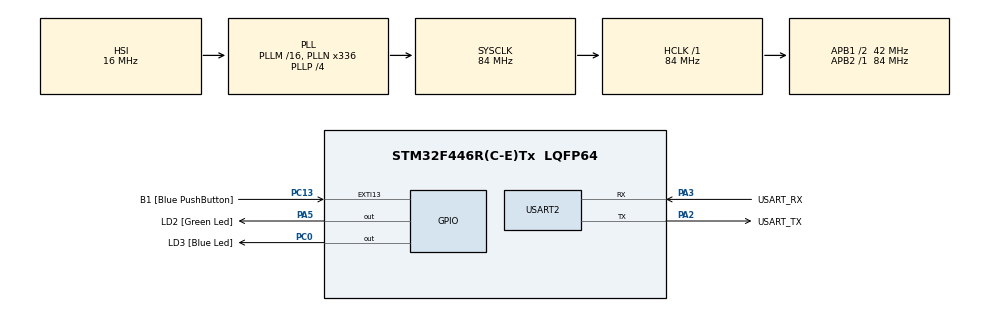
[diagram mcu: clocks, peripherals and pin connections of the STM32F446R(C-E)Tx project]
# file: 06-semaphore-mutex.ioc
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FREERTOS.Tasks01=defaultTask,24,128,StartDefaultTask,Default,NULL,Dynamic,NULL,NULL
FREERTOS.configUSE_NEWLIB_REENTRANT=1
FREERTOS.copyHeapFile=1
Mcu.Family=STM32F4
Mcu.Name=STM32F446R(C-E)Tx
Mcu.Package=LQFP64
NVIC.EXTI15_10_IRQn=true\:5\:0\:false\:false\:true\:true\:true\:true\:true
NVIC.PriorityGroup=NVIC_PRIORITYGROUP_4
NVIC.TIM1_UP_TIM10_IRQn=true\:15\:0\:false\:false\:true\:false\:false\:true\:true
NVIC.TimeBase=TIM1_UP_TIM10_IRQn
NVIC.TimeBaseIP=TIM1
PA13.GPIO_Label=TMS
PA13.Mode=Serial_Wire
PA13.Signal=SYS_JTMS-SWDIO
PA14.GPIO_Label=TCK
PA14.Mode=Serial_Wire
PA14.Signal=SYS_JTCK-SWCLK
PA2.GPIO_Label=USART_TX
PA2.Mode=Asynchronous
PA2.Signal=USART2_TX
PA3.GPIO_Label=USART_RX
PA3.Mode=Asynchronous
PA3.Signal=USART2_RX
PA5.GPIO_Label=LD2 [Green Led]
PA5.Signal=GPIO_Output
PB3.GPIO_Label=SWO
PB3.Signal=SYS_JTDO-SWO
PC0.GPIO_Label=LD3 [Blue Led]
PC0.Signal=GPIO_Output
PC13.GPIO_Label=B1 [Blue PushButton]
PC13.GPIO_ModeDefaultEXTI=GPIO_MODE_IT_FALLING
PC13.Signal=GPXTI13
PC14-OSC32_IN.Mode=LSE-External-Oscillator
PC14-OSC32_IN.Signal=RCC_OSC32_IN
PC15-OSC32_OUT.Mode=LSE-External-Oscillator
PC15-OSC32_OUT.Signal=RCC_OSC32_OUT
PH0-OSC_IN.Mode=HSE-External-Oscillator
PH0-OSC_IN.Signal=RCC_OSC_IN
PH1-OSC_OUT.Mode=HSE-External-Oscillator
PH1-OSC_OUT.Signal=RCC_OSC_OUT
ProjectManager.HeapSize=0x200
ProjectManager.StackSize=0x400
ProjectManager.TargetToolchain=STM32CubeIDE
RCC.48MHZClocksFreq_Value=84000000
RCC.AHBFreq_Value=84000000
RCC.APB1CLKDivider=RCC_HCLK_DIV2
RCC.APB1Freq_Value=42000000
RCC.APB1TimFreq_Value=84000000
RCC.APB2Freq_Value=84000000
RCC.APB2TimFreq_Value=84000000
RCC.CortexFreq_Value=84000000
RCC.FLatency-AdvancedSettings=FLASH_LATENCY_2
RCC.HCLKFreq_Value=84000000
RCC.HSE_VALUE=8000000
RCC.HSI_VALUE=16000000
RCC.PLLN=336
RCC.PLLP=RCC_PLLP_DIV4
RCC.SYSCLKFreq_VALUE=84000000
RCC.SYSCLKSource=RCC_SYSCLKSOURCE_PLLCLK
RCC.USBFreq_Value=168000000
RCC.VCOOutputFreq_Value=336000000
USART2.VirtualMode=VM_ASYNC
VP_FREERTOS_VS_CMSIS_V2.Mode=CMSIS_V2
VP_SYS_VS_tim1.Mode=TIM1
board=NUCLEO-F446RE

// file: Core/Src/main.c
/* USER CODE BEGIN Header */
/**
  ******************************************************************************
  * @file           : main.c
  * @brief          : Main program body
  ******************************************************************************
  * @attention
  *
  * Copyright (c) 2026 STMicroelectronics.
  * All rights reserved.
  *
  * This software is licensed under terms that can be found in the LICENSE file
  * in the root directory of this software component.
  * If no LICENSE file comes with this software, it is provided AS-IS.
  *
  ******************************************************************************
  */
/* USER CODE END Header */
#include "main.h"
#include "cmsis_os.h"

UART_HandleTypeDef huart2;

/* Definitions for defaultTask */
//osThreadId_t defaultTaskHandle;
//const osThreadAttr_t defaultTask_attributes = {
//  .name = "defaultTask",
//  .stack_size = 128 * 4,
//  .priority = (osPriority_t) osPriorityNormal,
//};
/* USER CODE BEGIN PV */

osMutexId_t uartMutex;
osSemaphoreId_t uartSem;

osThreadId_t lowPriorityTaskHandle;
osThreadId_t midPriorityTaskHandle;
osThreadId_t highPriorityTaskHandle;

const osThreadAttr_t lowPriorityTask_attributes = {
		.name = "lowPriorityTask",
		.stack_size = 128*4,
		.priority = (osPriority_t) osPriorityBelowNormal,
};

const osThreadAttr_t midPriorityTask_attributes = {
		.name = "midPriorityTask",
		.stack_size = 128*4,
		.priority = (osPriority_t) osPriorityNormal,
};

const osThreadAttr_t highPriorityTask_attributes = {
		.name = "highPriorityTask",
		.stack_size = 128*4,
		.priority = (osPriority_t) osPriorityHigh,
};

/* USER CODE END PV */

void SystemClock_Config(void);
static void MX_GPIO_Init(void);
static void MX_USART2_UART_Init(void);
//void StartDefaultTask(void *argument);

/* USER CODE BEGIN PFP */
void StartLowPriorityTask(void *argument);
void StartMidPriorityTask(void *argument);
void StartHighPriorityTask(void *argument);
/* USER CODE END PFP */

/* USER CODE BEGIN 0 */
#include <stdio.h>

int __io_putchar(int ch) {
    HAL_UART_Transmit(&huart2, (uint8_t*)&ch, 1, HAL_MAX_DELAY);
    return ch;
}
/* USER CODE END 0 */

int main(void)
{

  /* MCU Configuration--------------------------------------------------------*/

  /* Reset of all peripherals, Initializes the Flash interface and the Systick. */
  HAL_Init();

  /* Configure the system clock */
  SystemClock_Config();

  /* Initialize all configured peripherals */
  MX_GPIO_Init();
  MX_USART2_UART_Init();

  /* Init scheduler */
  osKernelInitialize();

  /* USER CODE BEGIN RTOS_MUTEX */
  /* add mutexes, ... */
  uartMutex = osMutexNew(NULL);
  /* USER CODE END RTOS_MUTEX */

  /* USER CODE BEGIN RTOS_SEMAPHORES */
  /* add semaphores, ... */
  uartSem = osSemaphoreNew(1, 1, NULL);
  /* USER CODE END RTOS_SEMAPHORES */

  /* Create the thread(s) */
  /* creation of defaultTask */
//  defaultTaskHandle = osThreadNew(StartDefaultTask, NULL, &defaultTask_attributes);

  /* USER CODE BEGIN RTOS_THREADS */
  /* add threads, ... */
  lowPriorityTaskHandle = osThreadNew(StartLowPriorityTask, NULL, &lowPriorityTask_attributes);

  midPriorityTaskHandle = osThreadNew(StartMidPriorityTask, NULL, &midPriorityTask_attributes);

  highPriorityTaskHandle = osThreadNew(StartHighPriorityTask, NULL, &highPriorityTask_attributes);
  /* USER CODE END RTOS_THREADS */

  /* Start scheduler */
  osKernelStart();

  /* We should never get here as control is now taken by the scheduler */

  /* Infinite loop */
  while (1)
  {

  }
}

void SystemClock_Config(void)
{
  RCC_OscInitTypeDef RCC_OscInitStruct = {0};
  RCC_ClkInitTypeDef RCC_ClkInitStruct = {0};

  /** Configure the main internal regulator output voltage
  */
  __HAL_RCC_PWR_CLK_ENABLE();
  __HAL_PWR_VOLTAGESCALING_CONFIG(PWR_REGULATOR_VOLTAGE_SCALE3);

  /** Initializes the RCC Oscillators according to the specified parameters
  * in the RCC_OscInitTypeDef structure.
  */
  RCC_OscInitStruct.OscillatorType = RCC_OSCILLATORTYPE_HSI;
  RCC_OscInitStruct.HSIState = RCC_HSI_ON;
  RCC_OscInitStruct.HSICalibrationValue = RCC_HSICALIBRATION_DEFAULT;
  RCC_OscInitStruct.PLL.PLLState = RCC_PLL_ON;
  RCC_OscInitStruct.PLL.PLLSource = RCC_PLLSOURCE_HSI;
  RCC_OscInitStruct.PLL.PLLM = 16;
  RCC_OscInitStruct.PLL.PLLN = 336;
  RCC_OscInitStruct.PLL.PLLP = RCC_PLLP_DIV4;
  RCC_OscInitStruct.PLL.PLLQ = 2;
  RCC_OscInitStruct.PLL.PLLR = 2;
  if (HAL_RCC_OscConfig(&RCC_OscInitStruct) != HAL_OK)
  {
    Error_Handler();
  }

  /** Initializes the CPU, AHB and APB buses clocks
  */
  RCC_ClkInitStruct.ClockType = RCC_CLOCKTYPE_HCLK|RCC_CLOCKTYPE_SYSCLK
                              |RCC_CLOCKTYPE_PCLK1|RCC_CLOCKTYPE_PCLK2;
  RCC_ClkInitStruct.SYSCLKSource = RCC_SYSCLKSOURCE_PLLCLK;
  RCC_ClkInitStruct.AHBCLKDivider = RCC_SYSCLK_DIV1;
  RCC_ClkInitStruct.APB1CLKDivider = RCC_HCLK_DIV2;
  RCC_ClkInitStruct.APB2CLKDivider = RCC_HCLK_DIV1;

  if (HAL_RCC_ClockConfig(&RCC_ClkInitStruct, FLASH_LATENCY_2) != HAL_OK)
  {
    Error_Handler();
  }
}

static void MX_USART2_UART_Init(void)
{

  huart2.Instance = USART2;
  huart2.Init.BaudRate = 115200;
  huart2.Init.WordLength = UART_WORDLENGTH_8B;
  huart2.Init.StopBits = UART_STOPBITS_1;
  huart2.Init.Parity = UART_PARITY_NONE;
  huart2.Init.Mode = UART_MODE_TX_RX;
  huart2.Init.HwFlowCtl = UART_HWCONTROL_NONE;
  huart2.Init.OverSampling = UART_OVERSAMPLING_16;
  if (HAL_UART_Init(&huart2) != HAL_OK)
  {
    Error_Handler();
  }

}

static void MX_GPIO_Init(void)
{
  GPIO_InitTypeDef GPIO_InitStruct = {0};

  /* GPIO Ports Clock Enable */
  __HAL_RCC_GPIOC_CLK_ENABLE();
  __HAL_RCC_GPIOH_CLK_ENABLE();
  __HAL_RCC_GPIOA_CLK_ENABLE();
  __HAL_RCC_GPIOB_CLK_ENABLE();

  /*Configure GPIO pin Output Level */
  HAL_GPIO_WritePin(LD3_GPIO_Port, LD3_Pin, GPIO_PIN_RESET);

  /*Configure GPIO pin Output Level */
  HAL_GPIO_WritePin(LD2_GPIO_Port, LD2_Pin, GPIO_PIN_RESET);

  /*Configure GPIO pin : B1_Pin */
  GPIO_InitStruct.Pin = B1_Pin;
  GPIO_InitStruct.Mode = GPIO_MODE_IT_FALLING;
  GPIO_InitStruct.Pull = GPIO_NOPULL;
  HAL_GPIO_Init(B1_GPIO_Port, &GPIO_InitStruct);

  /*Configure GPIO pin : LD3_Pin */
  GPIO_InitStruct.Pin = LD3_Pin;
  GPIO_InitStruct.Mode = GPIO_MODE_OUTPUT_PP;
  GPIO_InitStruct.Pull = GPIO_NOPULL;
  GPIO_InitStruct.Speed = GPIO_SPEED_FREQ_LOW;
  HAL_GPIO_Init(LD3_GPIO_Port, &GPIO_InitStruct);

  /*Configure GPIO pin : LD2_Pin */
  GPIO_InitStruct.Pin = LD2_Pin;
  GPIO_InitStruct.Mode = GPIO_MODE_OUTPUT_PP;
  GPIO_InitStruct.Pull = GPIO_NOPULL;
  GPIO_InitStruct.Speed = GPIO_SPEED_FREQ_LOW;
  HAL_GPIO_Init(LD2_GPIO_Port, &GPIO_InitStruct);

  /* EXTI interrupt init*/
  HAL_NVIC_SetPriority(EXTI15_10_IRQn, 5, 0);
  HAL_NVIC_EnableIRQ(EXTI15_10_IRQn);

}

/* USER CODE BEGIN 4 */
void StartLowPriorityTask(void *argument) {
	for (;;) {
		osMutexAcquire(uartMutex, osWaitForever);
//		osSemaphoreAcquire(uartSem, osWaitForever);
		printf("LOW: acquired mutex\r\n");
//		printf("LOW: acquired Sem\r\n");
		for(volatile uint32_t i = 0; i < 1000000; i++);
		printf("LOW: releasing mutex\r\n");
//        printf("LOW: releasing Sem\r\n");
		osMutexRelease(uartMutex);
//		osSemaphoreRelease(uartSem);
	}
}

void StartMidPriorityTask(void *argument) {
	for (;;) {
		HAL_GPIO_TogglePin(LD3_GPIO_Port, LD3_Pin);
		osDelay(1);
	}
}

void StartHighPriorityTask(void *argument) {
	for (;;) {
		printf("HIGH: waiting for mutex\r\n");

//		printf("HIGH: waiting for Sem\r\n");
		osMutexAcquire(uartMutex, osWaitForever);
//		osSemaphoreAcquire(uartSem, osWaitForever);
		printf("HIGH: acquired mutex\r\n");
//		printf("HIGH: acquired Sem\r\n");
		osMutexRelease(uartMutex);
//		osSemaphoreRelease(uartSem);
		osDelay(500);
	}
}
/* USER CODE END 4 */

//void StartDefaultTask(void *argument)
//{
  /* USER CODE BEGIN 5 */
  /* Infinite loop */
//  for(;;)
//  {
//	  osDelay(1);
//  }
  /* USER CODE END 5 */
//}

void HAL_TIM_PeriodElapsedCallback(TIM_HandleTypeDef *htim)
{
  if (htim->Instance == TIM1)
  {
    HAL_IncTick();
  }
}

void Error_Handler(void)
{
  __disable_irq();
  while (1)
  {
  }
}
